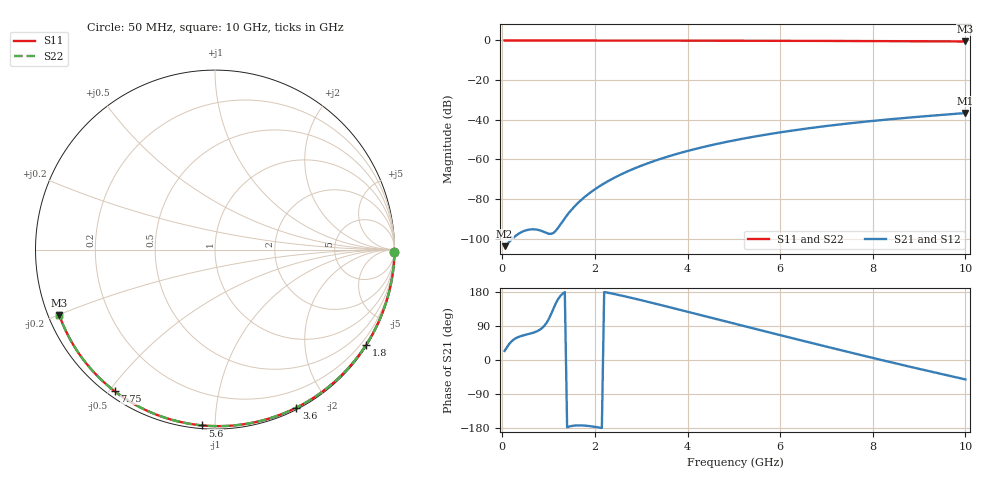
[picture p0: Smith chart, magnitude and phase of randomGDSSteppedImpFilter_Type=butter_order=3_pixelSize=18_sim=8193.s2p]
! freq	dB(S11)	phase(S11)	dB(S12)	phase(S12)
!  dB(S21)	phase(S21)	dB(S22)	phase(S22)
!S-par simulation data
#  GHz  S  DB  R 50
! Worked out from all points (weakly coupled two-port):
!   200 points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, 50 MHz to 10 GHz, reference 50 ohm
!   highest |S21| = -36.64 dB at 10 GHz (marker M1); lowest = -103.9 dB at 50 MHz (marker M2)
!   lowest |S11| = -0.5 dB at 10 GHz (marker M3), VSWR 33.04, Z = 1.57 - j10.1 ohm
!   |S11| at or under -10 dB: nowhere
!   |S22| runs from -0.5 to 0.0 dB; largest |S21 - S12| = 0
!   S11 on the Smith chart (normalised r, x): 50 MHz: open; 1.8 GHz: 0.03, -3.46; 3.6 GHz: 0.02, -1.64; 5.6 GHz: 0.02, -0.93; 7.75 GHz: 0.02, -0.52; 10 GHz: 0.03, -0.20
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0.05  -0.00 -0.9  -103.85 23.9  -103.85 23.9  -0.00 -0.9
0.45  -0.01 -8.2  -96.37 64.9  -96.37 64.9  -0.01 -8.2
0.85  -0.02 -15.4  -96.18 83.4  -96.18 83.4  -0.02 -15.4
1.7  -0.04 -30.5  -80.61 -172.6  -80.61 -172.6  -0.04 -30.5
1.75  -0.04 -31.4  -79.58 -172.9  -79.58 -172.9  -0.04 -31.4
1.8  -0.04 -32.2  -78.61 -173.3  -78.61 -173.3  -0.04 -32.2
1.95  -0.04 -34.9  -75.94 -175.4  -75.94 -175.4  -0.04 -34.9
2.1  -0.05 -37.5  -73.58 -178.3  -73.58 -178.3  -0.05 -37.5
2.3  -0.05 -40.9  -70.80 177.1  -70.80 177.1  -0.05 -40.9
2.5  -0.06 -44.4  -68.35 172.0  -68.35 172.0  -0.06 -44.4
2.9  -0.07 -51.2  -64.17 160.8  -64.17 160.8  -0.07 -51.1
3.4  -0.08 -59.5  -59.91 145.8  -59.91 145.8  -0.08 -59.5
3.6  -0.08 -62.8  -58.44 139.7  -58.44 139.7  -0.08 -62.8
4.3  -0.11 -74.0  -54.02 118.0  -54.02 118.0  -0.11 -74.0
5.05  -0.13 -85.8  -50.23 94.8  -50.23 94.8  -0.13 -85.7
5.6  -0.16 -94.1  -47.90 77.9  -47.90 77.9  -0.16 -94.1
6.15  -0.18 -102.3  -45.87 61.0  -45.87 61.0  -0.18 -102.3
6.7  -0.22 -110.3  -44.07 44.3  -44.07 44.3  -0.22 -110.3
7.75  -0.29 -125.3  -41.21 12.8  -41.21 12.8  -0.29 -125.3
8.35  -0.34 -133.7  -39.83 -4.8  -39.83 -4.8  -0.34 -133.7
9.2  -0.43 -145.7  -38.12 -29.0  -38.12 -29.0  -0.43 -145.7
10  -0.53 -157.1  -36.64 -51.2  -36.64 -51.2  -0.53 -157.1
